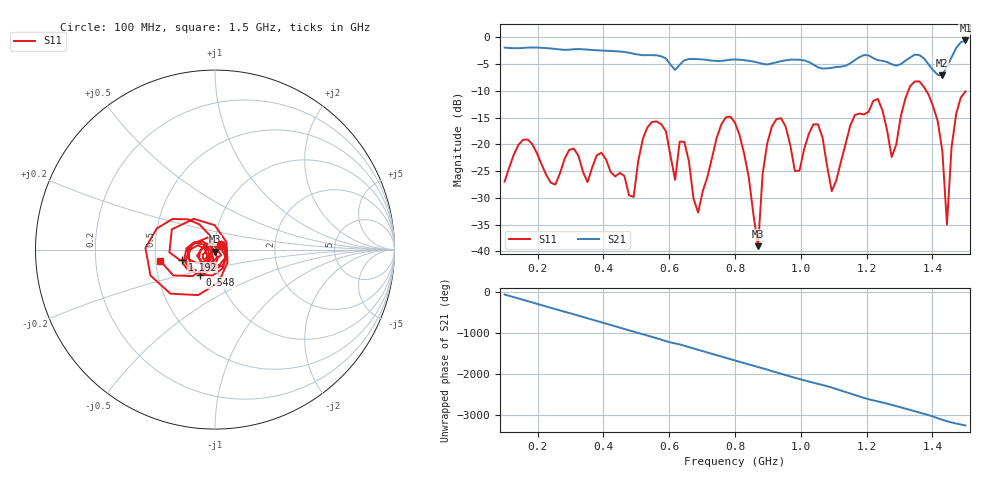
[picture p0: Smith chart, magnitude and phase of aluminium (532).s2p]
! NanoVNA-App
! Date: 2025-09-25 14:59:25
! Start: 100MHz Stop: 1,5GHz Points: 101
! S-Parameter data: F S11 S21 S12 S22
# Hz S RI R 50
!  Frequency  S11_Real  S11_Imag  S21_Real  S21_Imag  S12_Real  S12_Imag  S22_Real  S22_Imag
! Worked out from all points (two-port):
!   101 points, 100 MHz to 1.5 GHz, reference 50 ohm
!   highest |S21| = -0.58 dB at 1.5 GHz (marker M1); lowest = -7.1 dB at 1.43 GHz (marker M2)
!   |S21| within 3 dB of the highest: start of sweep to 577.4 MHz; 1.459 GHz to end of sweep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
!   lowest |S11| = -39.0 dB at 870 MHz (marker M3), VSWR 1.02, Z = 50.2 - j1.11 ohm
!   |S11| at or under -10 dB: start of sweep to 1.327 GHz; 1.381 GHz to end of sweep
!   S12 and S22 are empty: the file has one direction only
!   S11 on the Smith chart (normalised r, x): 100 MHz: 1.07, +0.06; 548 MHz: 0.82, -0.24; 1.192 GHz: 0.69, -0.08; 1.5 GHz: 0.53, -0.07
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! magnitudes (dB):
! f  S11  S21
! 100 MHz  -27.0  -1.9
! 156 MHz  -19.1  -2.0
! 338 MHz  -25.1  -2.2
! 492 MHz  -29.8  -3.1
! 548 MHz  -15.8  -3.3
! 576 MHz  -16.2  -3.5
! 618 MHz  -26.6  -6.1
! 646 MHz  -19.5  -4.3
! 688 MHz  -32.7  -4.1
! 800 MHz  -16.0  -4.1
! 870 MHz  -39.0  -4.7
! 912 MHz  -16.7  -4.9
! 982 MHz  -25.0  -4.2
! 1.038 GHz  -16.3  -5.1
! 1.094 GHz  -28.7  -5.7
! 1.192 GHz  -14.4  -3.3
! 1.276 GHz  -22.4  -5.0
! 1.346 GHz  -8.2  -3.2
! 1.43 GHz  -21.3  -7.1
! 1.444 GHz  -35.0  -5.4
! 1.472 GHz  -14.3  -2.0
! 1.5 GHz  -10.1  -0.6
